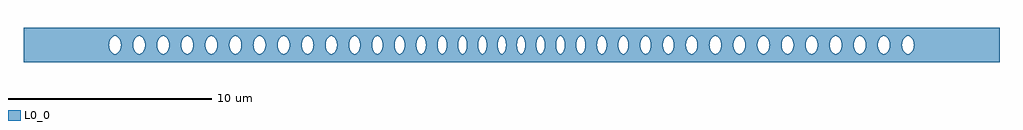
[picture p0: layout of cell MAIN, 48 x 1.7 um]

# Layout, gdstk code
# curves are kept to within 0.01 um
import gdstk
lib = gdstk.Library(unit=1e-6, precision=1e-09)
def P(c, l, *ps):  # polygons
    for p in ps: c.add(gdstk.Polygon(p, *l))
L0_0 = (0, 0)

main = lib.new_cell('MAIN')
P(main, L0_0, [(-19.573,-0.434),(-19.664,-0.374),(-19.736,-0.272),(-19.736,-0.85),(-19.573,-0.85)],
  [(-19.566,0.437),(-19.471,0.447),(-19.376,0.409),(-19.294,0.326),(-19.238,0.217),(-19.238,0.85),(-19.573,0.85)],
  [(-19.238,-0.217),(-19.294,-0.326),(-19.379,-0.411),(-19.479,-0.448),(-19.573,-0.434),(-19.573,-0.85),(-19.238,-0.85)],
  [(24,0.85),(19.736,0.85),(19.736,0.272),(19.778,0.158),(19.797,0.018),(19.782,-0.141),(19.736,-0.272),(19.736,-0.85),(24,-0.85)],
  [(-18.519,0.326),(-18.427,0.416),(-18.342,0.447),(-18.255,0.44),(-18.16,0.383),(-18.16,0.85),(-18.522,0.85)],
  [(-18.16,-0.383),(-18.255,-0.44),(-18.354,-0.445),(-18.448,-0.401),(-18.522,-0.321),(-18.522,-0.85),(-18.16,-0.85)],
  [(-18.612,0.006),(-18.586,0.185),(-18.522,0.321),(-18.522,0.85),(-19.238,0.85),(-19.238,0.217),(-19.201,0)],
  [(-17.414,0.135),(-17.374,0.258),(-17.311,0.357),(-17.216,0.43),(-17.118,0.448),(-17.118,0.85),(-17.415,0.85)],
  [(-17.118,-0.448),(-17.216,-0.43),(-17.311,-0.357),(-17.374,-0.258),(-17.415,-0.13),(-17.415,-0.85),(-17.118,-0.85)],
  [(-16.839,0.85),(-17.118,0.85),(-17.118,0.448),(-17.021,0.418),(-16.937,0.342),(-16.871,0.223),(-16.839,0.095)],
  [(-16.839,-0.095),(-16.871,-0.223),(-16.937,-0.342),(-17.021,-0.418),(-17.118,-0.448),(-17.118,-0.85),(-16.839,-0.85)],
  [(-17.428,0.006),(-17.415,0.13),(-17.415,0.85),(-18.16,0.85),(-18.16,0.383),(-18.098,0.309),(-18.048,0.202),(-18.016,0)],
  [(-16.075,0.403),(-15.985,0.445),(-15.886,0.44),(-15.797,0.389),(-15.724,0.3),(-15.724,0.85),(-16.083,0.85)],
  [(-15.724,-0.3),(-15.797,-0.389),(-15.886,-0.44),(-15.985,-0.445),(-16.083,-0.398),(-16.083,-0.85),(-15.724,-0.85)],
  [(-16.243,0.006),(-16.232,0.124),(-16.196,0.243),(-16.15,0.326),(-16.083,0.398),(-16.083,0.85),(-16.839,0.85),(-16.832,0)],
  [(-15.007,0.253),(-14.945,0.353),(-14.847,0.43),(-14.757,0.449),(-14.663,0.424),(-14.663,0.85),(-15.009,0.85)],
  [(-14.663,-0.424),(-14.757,-0.449),(-14.847,-0.43),(-14.945,-0.353),(-15.009,-0.248),(-15.009,-0.85),(-14.663,-0.85)],
  [(-15.058,0.006),(-15.045,0.135),(-15.009,0.248),(-15.009,0.85),(-15.724,0.85),(-15.724,0.3),(-15.666,0.158),(-15.647,0)],
  [(-13.873,0.036),(-13.846,0.191),(-13.798,0.3),(-13.71,0.401),(-13.631,0.441),(-13.631,0.85),(-13.873,0.85)],
  [(-13.631,-0.441),(-13.71,-0.401),(-13.798,-0.3),(-13.846,-0.191),(-13.873,-0.03),(-13.873,-0.85),(-13.631,-0.85)],
  [(-13.623,0.443),(-13.536,0.445),(-13.442,0.401),(-13.365,0.317),(-13.306,0.191),(-13.306,0.85),(-13.631,0.85)],
  [(-13.306,-0.191),(-13.365,-0.317),(-13.442,-0.401),(-13.536,-0.445),(-13.631,-0.441),(-13.631,-0.85),(-13.306,-0.85)],
  [(-13.874,0.006),(-13.873,0.85),(-14.663,0.85),(-14.663,0.424),(-14.586,0.364),(-14.521,0.268),(-14.475,0.13),(-14.463,0)],
  [(-12.578,0.349),(-12.504,0.416),(-12.395,0.449),(-12.305,0.43),(-12.217,0.364),(-12.217,0.85),(-12.582,0.85)],
  [(-12.217,-0.364),(-12.305,-0.43),(-12.395,-0.449),(-12.504,-0.416),(-12.582,-0.345),(-12.582,-0.85),(-12.217,-0.85)],
  [(-12.689,0.006),(-12.658,0.202),(-12.582,0.345),(-12.582,0.85),(-13.306,0.85),(-13.306,0.191),(-13.278,0)],
  [(-11.483,0.163),(-11.44,0.277),(-11.364,0.38),(-11.266,0.44),(-11.175,0.446),(-11.175,0.85),(-11.484,0.85)],
  [(-11.175,-0.446),(-11.266,-0.44),(-11.364,-0.38),(-11.44,-0.277),(-11.484,-0.158),(-11.484,-0.85),(-11.175,-0.85)],
  [(-10.914,0.85),(-11.175,0.85),(-11.175,0.446),(-11.095,0.416),(-11.003,0.326),(-10.942,0.202),(-10.914,0.065)],
  [(-10.914,-0.065),(-10.942,-0.202),(-11.003,-0.326),(-11.095,-0.416),(-11.175,-0.446),(-11.175,-0.85),(-10.914,-0.85)],
  [(-11.503,0.006),(-11.484,0.158),(-11.484,0.85),(-12.217,0.85),(-12.217,0.364),(-12.125,0.202),(-12.094,0)],
  [(-10.133,0.418),(-10.031,0.449),(-9.943,0.43),(-9.866,0.374),(-9.796,0.272),(-9.796,0.85),(-10.14,0.85)],
  [(-9.796,-0.272),(-9.866,-0.374),(-9.943,-0.43),(-10.046,-0.448),(-10.14,-0.413),(-10.14,-0.85),(-9.796,-0.85)],
  [(-10.318,0.006),(-10.306,0.13),(-10.272,0.243),(-10.216,0.342),(-10.14,0.413),(-10.14,0.85),(-10.914,0.85),(-10.911,0)],
  [(-9.083,0.277),(-9.017,0.374),(-8.928,0.436),(-8.834,0.447),(-8.751,0.413),(-8.751,0.85),(-9.086,0.85)],
  [(-8.751,-0.413),(-8.834,-0.447),(-8.928,-0.436),(-9.017,-0.374),(-9.086,-0.272),(-9.086,-0.85),(-8.751,-0.85)],
  [(-9.144,0.006),(-9.126,0.158),(-9.086,0.272),(-9.086,0.85),(-9.796,0.85),(-9.796,0.272),(-9.752,0.147),(-9.736,0)],
  [(-7.985,0.065),(-7.952,0.223),(-7.9,0.33),(-7.827,0.409),(-7.744,0.446),(-7.744,0.85),(-7.985,0.85)],
  [(-7.744,-0.446),(-7.827,-0.409),(-7.9,-0.33),(-7.952,-0.223),(-7.985,-0.06),(-7.985,-0.85),(-7.744,-0.85)],
  [(-7.736,0.447),(-7.65,0.436),(-7.564,0.374),(-7.495,0.268),(-7.459,0.158),(-7.459,0.85),(-7.744,0.85)],
  [(-7.459,-0.158),(-7.495,-0.268),(-7.564,-0.374),(-7.65,-0.436),(-7.744,-0.446),(-7.744,-0.85),(-7.459,-0.85)],
  [(-7.988,0.006),(-7.985,0.85),(-8.751,0.85),(-8.751,0.413),(-8.689,0.357),(-8.631,0.263),(-8.593,0.147),(-8.578,0)],
  [(-6.741,0.37),(-6.663,0.433),(-6.576,0.448),(-6.495,0.416),(-6.427,0.345),(-6.427,0.85),(-6.747,0.85)],
  [(-6.427,-0.345),(-6.498,-0.418),(-6.59,-0.449),(-6.673,-0.428),(-6.747,-0.364),(-6.747,-0.85),(-6.427,-0.85)],
  [(-6.855,0.006),(-6.828,0.202),(-6.747,0.364),(-6.747,0.85),(-7.459,0.85),(-7.459,0.158),(-7.441,0)],
  [(-5.728,0.191),(-5.674,0.326),(-5.614,0.401),(-5.535,0.445),(-5.455,0.441),(-5.455,0.85),(-5.729,0.85)],
  [(-5.455,-0.441),(-5.535,-0.445),(-5.614,-0.401),(-5.681,-0.313),(-5.729,-0.185),(-5.729,-0.85),(-5.455,-0.85)],
  [(-5.252,0.85),(-5.455,0.85),(-5.455,0.441),(-5.38,0.392),(-5.311,0.291),(-5.266,0.152),(-5.252,0.03)],
  [(-5.252,-0.03),(-5.266,-0.152),(-5.311,-0.291),(-5.38,-0.392),(-5.455,-0.441),(-5.455,-0.85),(-5.252,-0.85)],
  [(-5.751,0.006),(-5.729,0.185),(-5.729,0.85),(-6.427,0.85),(-6.427,0.345),(-6.361,0.207),(-6.332,0)],
  [(-4.512,0.428),(-4.443,0.449),(-4.371,0.43),(-4.3,0.364),(-4.241,0.248),(-4.241,0.85),(-4.518,0.85)],
  [(-4.241,-0.248),(-4.295,-0.357),(-4.371,-0.43),(-4.443,-0.449),(-4.518,-0.424),(-4.518,-0.85),(-4.241,-0.85)],
  [(-4.678,0.006),(-4.668,0.13),(-4.635,0.258),(-4.587,0.353),(-4.518,0.424),(-4.518,0.85),(-5.252,0.85),(-5.252,0)],
  [(-3.577,0.3),(-3.519,0.392),(-3.454,0.44),(-3.378,0.445),(-3.304,0.398),(-3.304,0.85),(-3.579,0.85)],
  [(-3.304,-0.398),(-3.378,-0.445),(-3.454,-0.44),(-3.519,-0.392),(-3.579,-0.295),(-3.579,-0.85),(-3.304,-0.85)],
  [(-3.635,0.006),(-3.619,0.169),(-3.579,0.295),(-3.579,0.85),(-4.241,0.85),(-4.241,0.248),(-4.209,0.112),(-4.202,0)],
  [(-2.618,0.101),(-2.592,0.233),(-2.547,0.342),(-2.488,0.416),(-2.415,0.448),(-2.415,0.85),(-2.618,0.85)],
  [(-2.415,-0.448),(-2.488,-0.416),(-2.547,-0.342),(-2.592,-0.233),(-2.618,-0.095),(-2.618,-0.85),(-2.415,-0.85)],
  [(-2.409,0.449),(-2.343,0.43),(-2.274,0.357),(-2.228,0.258),(-2.198,0.13),(-2.198,0.85),(-2.415,0.85)],
  [(-2.198,-0.13),(-2.228,-0.258),(-2.274,-0.357),(-2.343,-0.43),(-2.415,-0.448),(-2.415,-0.85),(-2.198,-0.85)],
  [(-2.623,0.006),(-2.618,0.85),(-3.304,0.85),(-3.304,0.398),(-3.219,0.248),(-3.19,0.124),(-3.182,0)],
  [(-1.535,0.386),(-1.468,0.441),(-1.401,0.445),(-1.342,0.409),(-1.283,0.321),(-1.283,0.85),(-1.54,0.85)],
  [(-1.283,-0.321),(-1.342,-0.409),(-1.409,-0.447),(-1.484,-0.433),(-1.54,-0.38),(-1.54,-0.85),(-1.283,-0.85)],
  [(-1.638,0.006),(-1.608,0.233),(-1.54,0.38),(-1.54,0.85),(-2.198,0.85),(-2.189,0)],
  [(-0.649,0.223),(-0.604,0.342),(-0.549,0.416),(-0.485,0.448),(-0.421,0.434),(-0.421,0.85),(-0.65,0.85)],
  [(-0.421,-0.434),(-0.485,-0.448),(-0.549,-0.416),(-0.604,-0.342),(-0.65,-0.217),(-0.65,-0.85),(-0.421,-0.85)],
  [(-0.268,0.85),(-0.421,0.85),(-0.421,0.434),(-0.352,0.364),(-0.306,0.263),(-0.277,0.135),(-0.268,0)],
  [(-0.268,0),(-0.277,-0.135),(-0.306,-0.263),(-0.352,-0.364),(-0.421,-0.434),(-0.421,-0.85),(-0.268,-0.85)],
  [(0.268,0.006),(0.306,0.263),(0.352,0.364),(0.418,0.433),(0.418,0.85),(-0.268,0.85),(-0.268,0)],
  [(0.418,-0.433),(0.352,-0.364),(0.306,-0.263),(0.277,-0.135),(0.268,0),(-0.268,0),(-0.268,-0.85),(0.418,-0.85)],
  [(0.423,0.436),(0.485,0.448),(0.549,0.416),(0.604,0.342),(0.65,0.217),(0.65,0.85),(0.418,0.85)],
  [(0.65,-0.217),(0.604,-0.342),(0.549,-0.416),(0.485,-0.448),(0.418,-0.433),(0.418,-0.85),(0.65,-0.85)],
  [(-0.676,0.006),(-0.65,0.217),(-0.65,0.85),(-1.283,0.85),(-1.283,0.321),(-1.237,0.18),(-1.22,0)],
  [(1.285,0.326),(1.342,0.409),(1.409,0.447),(1.468,0.441),(1.537,0.383),(1.537,0.85),(1.283,0.85)],
  [(1.537,-0.383),(1.484,-0.433),(1.409,-0.447),(1.342,-0.409),(1.283,-0.321),(1.283,-0.85),(1.537,-0.85)],
  [(1.22,0.006),(1.237,0.18),(1.283,0.321),(1.283,0.85),(0.65,0.85),(0.65,0.217),(0.676,0)],
  [(2.198,0.13),(2.228,0.258),(2.274,0.357),(2.343,0.43),(2.412,0.448),(2.412,0.85),(2.197,0.85)],
  [(2.412,-0.448),(2.343,-0.43),(2.274,-0.357),(2.228,-0.258),(2.197,-0.124),(2.197,-0.85),(2.412,-0.85)],
  [(2.618,0.85),(2.412,0.85),(2.412,0.448),(2.488,0.416),(2.547,0.342),(2.592,0.233),(2.618,0.095)],
  [(2.618,-0.095),(2.592,-0.233),(2.547,-0.342),(2.488,-0.416),(2.412,-0.448),(2.412,-0.85),(2.618,-0.85)],
  [(2.189,0.006),(2.197,0.85),(1.537,0.85),(1.537,0.383),(1.608,0.233),(1.638,0)],
  [(3.309,0.403),(3.378,0.445),(3.454,0.44),(3.519,0.392),(3.577,0.3),(3.577,0.85),(3.304,0.85)],
  [(3.577,-0.3),(3.519,-0.392),(3.454,-0.44),(3.378,-0.445),(3.304,-0.398),(3.304,-0.85),(3.577,-0.85)],
  [(3.182,0.006),(3.219,0.248),(3.304,0.398),(3.304,0.85),(2.618,0.85),(2.623,0)],
  [(4.241,0.248),(4.295,0.357),(4.371,0.43),(4.443,0.449),(4.515,0.426),(4.515,0.85),(4.24,0.85)],
  [(4.515,-0.426),(4.443,-0.449),(4.371,-0.43),(4.295,-0.357),(4.24,-0.243),(4.24,-0.85),(4.515,-0.85)],
  [(4.202,0.006),(4.24,0.243),(4.24,0.85),(3.577,0.85),(3.577,0.3),(3.619,0.169),(3.635,0)],
  [(5.252,0.036),(5.275,0.191),(5.322,0.313),(5.389,0.401),(5.455,0.441),(5.455,0.85),(5.252,0.85)],
  [(5.455,-0.441),(5.38,-0.392),(5.311,-0.291),(5.266,-0.152),(5.252,-0.03),(5.252,-0.85),(5.455,-0.85)],
  [(5.462,0.443),(5.535,0.445),(5.614,0.401),(5.674,0.326),(5.728,0.191),(5.728,0.85),(5.455,0.85)],
  [(5.728,-0.191),(5.674,-0.326),(5.614,-0.401),(5.535,-0.445),(5.455,-0.441),(5.455,-0.85),(5.728,-0.85)],
  [(5.252,0.006),(5.252,0.85),(4.515,0.85),(4.515,0.426),(4.577,0.367),(4.635,0.258),(4.668,0.13),(4.678,0)],
  [(6.427,0.345),(6.498,0.418),(6.59,0.449),(6.673,0.428),(6.747,0.364),(6.747,0.85),(6.424,0.85)],
  [(6.747,-0.364),(6.673,-0.428),(6.59,-0.449),(6.498,-0.418),(6.424,-0.342),(6.424,-0.85),(6.747,-0.85)],
  [(6.332,0.006),(6.361,0.207),(6.424,0.342),(6.424,0.85),(5.728,0.85),(5.728,0.191),(5.752,0)],
  [(7.46,0.163),(7.511,0.3),(7.585,0.395),(7.66,0.44),(7.744,0.446),(7.744,0.85),(7.459,0.85)],
  [(7.744,-0.446),(7.66,-0.44),(7.564,-0.374),(7.495,-0.268),(7.459,-0.158),(7.459,-0.85),(7.744,-0.85)],
  [(7.985,0.85),(7.744,0.85),(7.744,0.446),(7.827,0.409),(7.9,0.33),(7.952,0.223),(7.985,0.065)],
  [(7.985,-0.065),(7.952,-0.223),(7.9,-0.33),(7.827,-0.409),(7.744,-0.446),(7.744,-0.85),(7.985,-0.85)],
  [(7.442,0.006),(7.459,0.158),(7.459,0.85),(6.747,0.85),(6.747,0.364),(6.828,0.202),(6.856,0)],
  [(8.754,0.416),(8.842,0.448),(8.942,0.43),(9.017,0.374),(9.086,0.272),(9.086,0.85),(8.747,0.85)],
  [(9.086,-0.272),(9.017,-0.374),(8.928,-0.436),(8.834,-0.447),(8.747,-0.411),(8.747,-0.85),(9.086,-0.85)],
  [(8.578,0.006),(8.593,0.147),(8.631,0.263),(8.677,0.342),(8.747,0.411),(8.747,0.85),(7.985,0.85),(7.988,0)],
  [(9.798,0.277),(9.866,0.374),(9.958,0.436),(10.054,0.447),(10.14,0.413),(10.14,0.85),(9.796,0.85)],
  [(10.14,-0.413),(10.046,-0.448),(9.943,-0.43),(9.866,-0.374),(9.796,-0.272),(9.796,-0.85),(10.14,-0.85)],
  [(9.736,0.006),(9.752,0.147),(9.796,0.272),(9.796,0.85),(9.086,0.85),(9.086,0.272),(9.132,0.13),(9.144,0)],
  [(10.914,0.065),(10.942,0.202),(11.003,0.326),(11.085,0.409),(11.171,0.445),(11.171,0.85),(10.913,0.85)],
  [(11.171,-0.445),(11.085,-0.409),(11.003,-0.326),(10.942,-0.202),(10.913,-0.06),(10.913,-0.85),(11.171,-0.85)],
  [(11.179,0.447),(11.266,0.44),(11.364,0.38),(11.44,0.277),(11.484,0.158),(11.484,0.85),(11.171,0.85)],
  [(11.484,-0.158),(11.44,-0.277),(11.364,-0.38),(11.266,-0.44),(11.171,-0.445),(11.171,-0.85),(11.484,-0.85)],
  [(10.911,0.006),(10.913,0.85),(10.14,0.85),(10.14,0.413),(10.216,0.342),(10.272,0.243),(10.306,0.13),(10.318,0)],
  [(12.223,0.37),(12.305,0.43),(12.411,0.448),(12.504,0.416),(12.582,0.345),(12.582,0.85),(12.217,0.85)],
  [(12.582,-0.345),(12.504,-0.416),(12.395,-0.449),(12.305,-0.43),(12.217,-0.364),(12.217,-0.85),(12.582,-0.85)],
  [(12.094,0.006),(12.125,0.202),(12.217,0.364),(12.217,0.85),(11.484,0.85),(11.484,0.158),(11.503,0)],
  [(13.306,0.191),(13.365,0.317),(13.442,0.401),(13.536,0.445),(13.627,0.442),(13.627,0.85),(13.305,0.85)],
  [(13.627,-0.442),(13.536,-0.445),(13.442,-0.401),(13.354,-0.3),(13.305,-0.185),(13.305,-0.85),(13.627,-0.85)],
  [(13.873,0.85),(13.627,0.85),(13.627,0.442),(13.71,0.401),(13.798,0.3),(13.846,0.191),(13.873,0.03)],
  [(13.873,-0.03),(13.846,-0.191),(13.798,-0.3),(13.71,-0.401),(13.627,-0.442),(13.627,-0.85),(13.873,-0.85)],
  [(13.278,0.006),(13.305,0.185),(13.305,0.85),(12.582,0.85),(12.582,0.345),(12.658,0.202),(12.689,0)],
  [(14.671,0.428),(14.757,0.449),(14.847,0.43),(14.945,0.353),(15.009,0.248),(15.009,0.85),(14.663,0.85)],
  [(15.009,-0.248),(14.945,-0.353),(14.847,-0.43),(14.757,-0.449),(14.663,-0.424),(14.663,-0.85),(15.009,-0.85)],
  [(14.463,0.006),(14.475,0.13),(14.521,0.268),(14.586,0.364),(14.663,0.424),(14.663,0.85),(13.873,0.85),(13.874,0)],
  [(15.724,0.3),(15.797,0.389),(15.886,0.44),(15.985,0.445),(16.079,0.401),(16.079,0.85),(15.721,0.85)],
  [(16.079,-0.401),(15.985,-0.445),(15.886,-0.44),(15.797,-0.389),(15.721,-0.295),(15.721,-0.85),(16.079,-0.85)],
  [(15.647,0.006),(15.666,0.158),(15.721,0.295),(15.721,0.85),(15.009,0.85),(15.009,0.248),(15.046,0.13),(15.058,0)],
  [(16.839,0.101),(16.879,0.243),(16.949,0.357),(17.032,0.424),(17.118,0.448),(17.118,0.85),(16.839,0.85)],
  [(17.118,-0.448),(17.021,-0.418),(16.937,-0.342),(16.871,-0.223),(16.839,-0.095),(16.839,-0.85),(17.118,-0.85)],
  [(17.126,0.449),(17.216,0.43),(17.311,0.357),(17.374,0.258),(17.415,0.13),(17.415,0.85),(17.118,0.85)],
  [(17.415,-0.13),(17.374,-0.258),(17.311,-0.357),(17.216,-0.43),(17.118,-0.448),(17.118,-0.85),(17.415,-0.85)],
  [(16.832,0.006),(16.839,0.85),(16.079,0.85),(16.079,0.401),(16.15,0.326),(16.196,0.243),(16.232,0.124),(16.243,0)],
  [(18.163,0.386),(18.255,0.44),(18.354,0.445),(18.437,0.409),(18.519,0.326),(18.519,0.85),(18.156,0.85)],
  [(18.519,-0.326),(18.427,-0.416),(18.342,-0.447),(18.255,-0.44),(18.156,-0.38),(18.156,-0.85),(18.519,-0.85)],
  [(18.016,0.006),(18.048,0.202),(18.098,0.309),(18.156,0.38),(18.156,0.85),(17.415,0.85),(17.415,0.13),(17.428,0)],
  [(19.24,0.223),(19.306,0.342),(19.39,0.418),(19.479,0.448),(19.573,0.434),(19.573,0.85),(19.238,0.85)],
  [(19.573,-0.434),(19.479,-0.448),(19.379,-0.411),(19.294,-0.326),(19.238,-0.217),(19.238,-0.85),(19.573,-0.85)],
  [(-19.736,-0.272),(-19.778,-0.158),(-19.797,-0.018),(-19.782,0.141),(-19.736,0.272),(-19.736,0.85),(-24,0.85),(-24,-0.85),(-19.736,-0.85)],
  [(-19.733,0.277),(-19.664,0.374),(-19.573,0.434),(-19.573,0.85),(-19.736,0.85)],
  [(19.736,0.85),(19.573,0.85),(19.573,0.434),(19.664,0.374),(19.736,0.272)],
  [(19.736,-0.272),(19.664,-0.374),(19.573,-0.434),(19.573,-0.85),(19.736,-0.85)],
  [(-18.522,-0.321),(-18.586,-0.185),(-18.612,0),(-19.201,0),(-19.238,-0.217),(-19.238,-0.85),(-18.522,-0.85)],
  [(-17.415,-0.13),(-17.428,0),(-18.016,0),(-18.048,-0.202),(-18.098,-0.309),(-18.16,-0.383),(-18.16,-0.85),(-17.415,-0.85)],
  [(-16.083,-0.398),(-16.15,-0.326),(-16.196,-0.243),(-16.232,-0.124),(-16.243,0),(-16.832,0),(-16.839,-0.85),(-16.083,-0.85)],
  [(-15.009,-0.248),(-15.046,-0.13),(-15.058,0),(-15.647,0),(-15.666,-0.158),(-15.724,-0.3),(-15.724,-0.85),(-15.009,-0.85)],
  [(-13.873,-0.03),(-13.874,0),(-14.463,0),(-14.475,-0.13),(-14.521,-0.268),(-14.586,-0.364),(-14.663,-0.424),(-14.663,-0.85),(-13.873,-0.85)],
  [(-12.582,-0.345),(-12.658,-0.202),(-12.689,0),(-13.278,0),(-13.306,-0.191),(-13.306,-0.85),(-12.582,-0.85)],
  [(-11.484,-0.158),(-11.503,0),(-12.094,0),(-12.125,-0.202),(-12.217,-0.364),(-12.217,-0.85),(-11.484,-0.85)],
  [(-10.14,-0.413),(-10.216,-0.342),(-10.272,-0.243),(-10.306,-0.13),(-10.318,0),(-10.911,0),(-10.914,-0.85),(-10.14,-0.85)],
  [(-9.086,-0.272),(-9.132,-0.13),(-9.144,0),(-9.736,0),(-9.752,-0.147),(-9.796,-0.272),(-9.796,-0.85),(-9.086,-0.85)],
  [(-7.985,-0.06),(-7.988,0),(-8.578,0),(-8.593,-0.147),(-8.631,-0.263),(-8.677,-0.342),(-8.751,-0.413),(-8.751,-0.85),(-7.985,-0.85)],
  [(-6.747,-0.364),(-6.828,-0.202),(-6.856,0),(-7.441,0),(-7.459,-0.158),(-7.459,-0.85),(-6.747,-0.85)],
  [(-5.729,-0.185),(-5.752,0),(-6.332,0),(-6.361,-0.207),(-6.427,-0.345),(-6.427,-0.85),(-5.729,-0.85)],
  [(-4.518,-0.424),(-4.587,-0.353),(-4.635,-0.258),(-4.668,-0.13),(-4.678,0),(-5.252,0),(-5.252,-0.85),(-4.518,-0.85)],
  [(-3.579,-0.295),(-3.619,-0.169),(-3.635,0),(-4.202,0),(-4.209,-0.112),(-4.241,-0.248),(-4.241,-0.85),(-3.579,-0.85)],
  [(-2.618,-0.095),(-2.623,0),(-3.182,0),(-3.19,-0.124),(-3.219,-0.248),(-3.304,-0.398),(-3.304,-0.85),(-2.618,-0.85)],
  [(-1.54,-0.38),(-1.616,-0.202),(-1.638,0),(-2.189,0),(-2.198,-0.85),(-1.54,-0.85)],
  [(-0.65,-0.217),(-0.676,0),(-1.22,0),(-1.237,-0.18),(-1.283,-0.321),(-1.283,-0.85),(-0.65,-0.85)],
  [(1.283,-0.321),(1.237,-0.18),(1.22,0),(0.676,0),(0.65,-0.217),(0.65,-0.85),(1.283,-0.85)],
  [(2.197,-0.124),(2.189,0),(1.638,0),(1.608,-0.233),(1.537,-0.383),(1.537,-0.85),(2.197,-0.85)],
  [(3.304,-0.398),(3.219,-0.248),(3.19,-0.124),(3.182,0),(2.623,0),(2.618,-0.85),(3.304,-0.85)],
  [(4.24,-0.243),(4.209,-0.112),(4.202,0),(3.635,0),(3.619,-0.169),(3.577,-0.3),(3.577,-0.85),(4.24,-0.85)],
  [(5.252,-0.03),(5.252,0),(4.678,0),(4.67,-0.118),(4.635,-0.258),(4.587,-0.353),(4.515,-0.426),(4.515,-0.85),(5.252,-0.85)],
  [(6.424,-0.342),(6.352,-0.174),(6.332,0),(5.752,0),(5.728,-0.191),(5.728,-0.85),(6.424,-0.85)],
  [(7.459,-0.158),(7.441,0),(6.856,0),(6.828,-0.202),(6.747,-0.364),(6.747,-0.85),(7.459,-0.85)],
  [(8.747,-0.411),(8.677,-0.342),(8.631,-0.263),(8.593,-0.147),(8.578,0),(7.988,0),(7.985,-0.85),(8.747,-0.85)],
  [(9.796,-0.272),(9.752,-0.147),(9.736,0),(9.144,0),(9.132,-0.13),(9.086,-0.272),(9.086,-0.85),(9.796,-0.85)],
  [(10.913,-0.06),(10.911,0),(10.318,0),(10.306,-0.13),(10.272,-0.243),(10.216,-0.342),(10.14,-0.413),(10.14,-0.85),(10.913,-0.85)],
  [(12.217,-0.364),(12.125,-0.202),(12.094,0),(11.503,0),(11.484,-0.158),(11.484,-0.85),(12.217,-0.85)],
  [(13.305,-0.185),(13.278,0),(12.689,0),(12.658,-0.202),(12.582,-0.345),(12.582,-0.85),(13.305,-0.85)],
  [(14.663,-0.424),(14.586,-0.364),(14.521,-0.268),(14.475,-0.13),(14.463,0),(13.874,0),(13.873,-0.85),(14.663,-0.85)],
  [(15.721,-0.295),(15.666,-0.158),(15.647,0),(15.058,0),(15.046,-0.13),(15.009,-0.248),(15.009,-0.85),(15.721,-0.85)],
  [(16.839,-0.095),(16.832,0),(16.243,0),(16.232,-0.124),(16.196,-0.243),(16.15,-0.326),(16.079,-0.401),(16.079,-0.85),(16.839,-0.85)],
  [(18.156,-0.38),(18.098,-0.309),(18.048,-0.202),(18.016,0),(17.428,0),(17.415,-0.13),(17.415,-0.85),(18.156,-0.85)],
  [(19.238,-0.217),(19.201,0),(18.612,0),(18.586,-0.185),(18.519,-0.326),(18.519,-0.85),(19.238,-0.85)],
  [(19.201,0.006),(19.238,0.217),(19.238,0.85),(18.519,0.85),(18.519,0.326),(18.586,0.185),(18.612,0)])

lib.write_gds('MAIN.gds')
